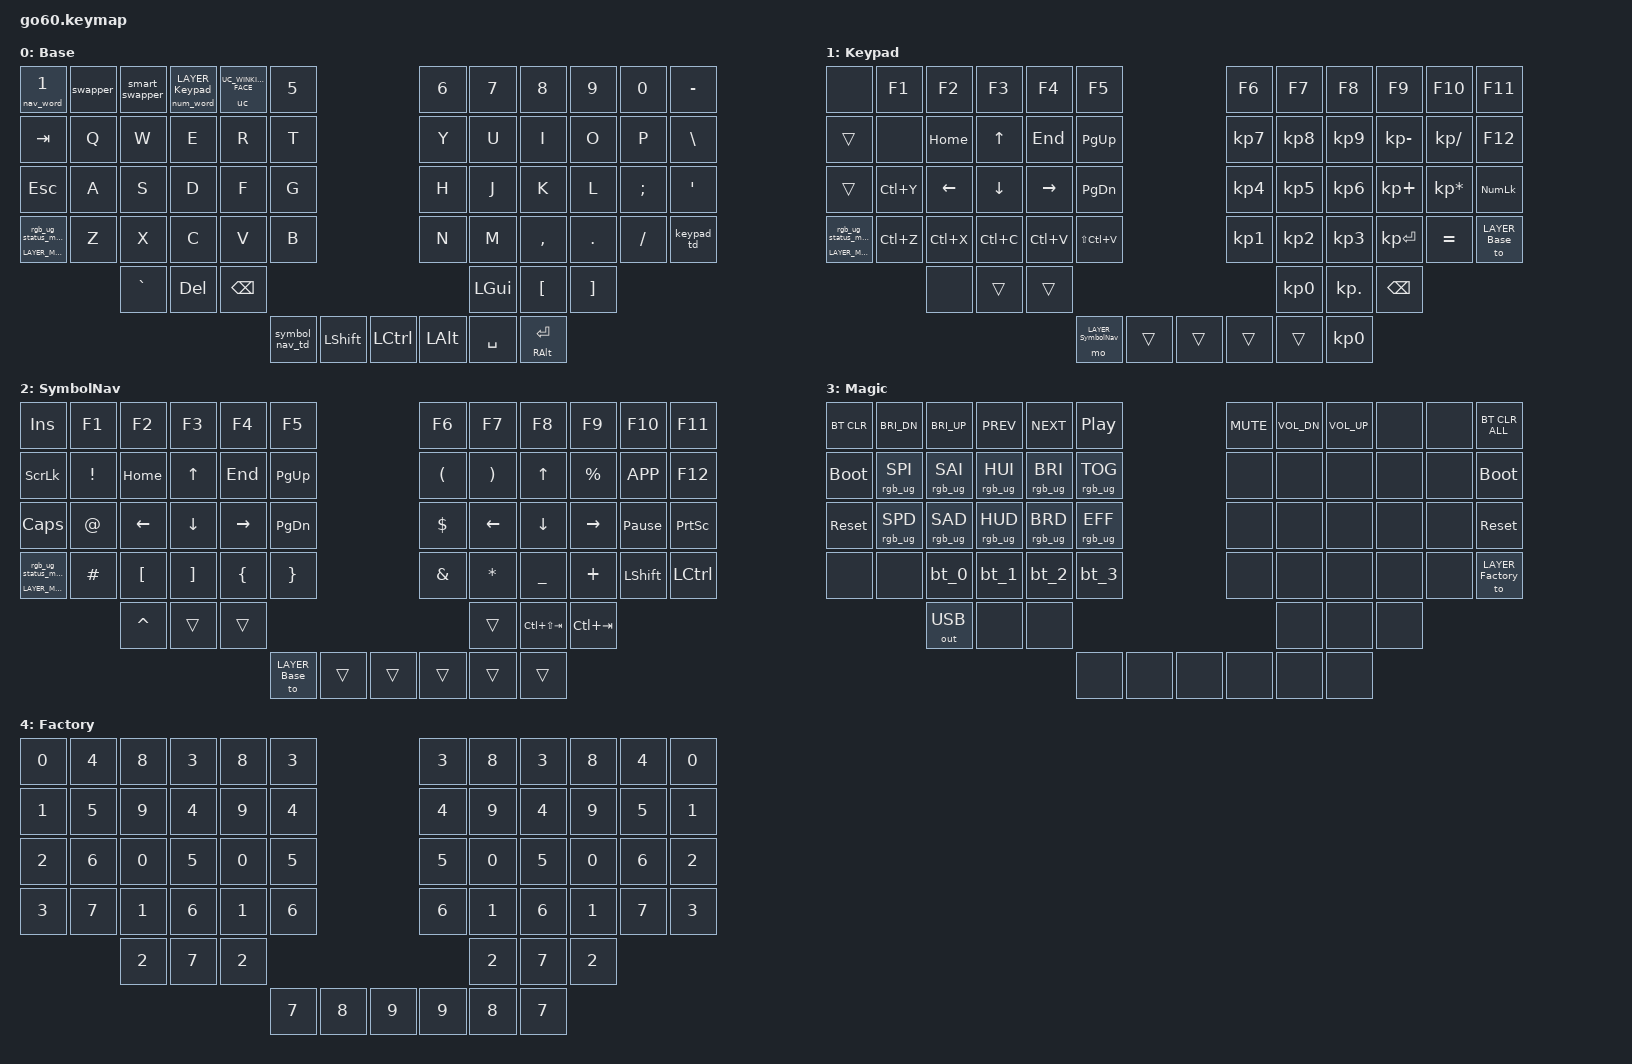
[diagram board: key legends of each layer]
/* Generated by Keyboard Curator. Change the board or the layout there, not this file. */

#include <behaviors.dtsi>
#include <dt-bindings/zmk/keys.h>
#include <dt-bindings/zmk/bt.h>
#include <dt-bindings/zmk/outputs.h>
#include <dt-bindings/zmk/rgb.h>
#include <dt-bindings/zmk/ext_power.h>
#include <dt-bindings/zmk/pointing.h>
#include <input/processors.dtsi>
#include <dt-bindings/zmk/input_transform.h>
#include <zephyr/dt-bindings/input/input-event-codes.h>
#include <behaviors/num_word.dtsi>
#include <behaviors/unicode.dtsi>
#include <zmk-unicode/keys-extra.h>
#include "zmk-helpers/helper.h"

#define LAYER_Base 0
#define LAYER_Keypad 1
#define LAYER_SymbolNav 2
#define LAYER_Magic 3
#define LAYER_Factory 4

/ {
    input_processors {
        zip_click_to_right_click_mapper: zip_click_to_right_click_mapper {
            compatible = "zmk,input-processor-code-mapper";
            #input-processor-cells = <0>;
            type = <INPUT_EV_KEY>;
            map = <INPUT_BTN_0 INPUT_BTN_1>;
        };
    };

    behaviors {
        // Template: Magic
        magic: magic {
            compatible = "zmk,behavior-hold-tap";
            #binding-cells = <2>;
            flavor = "tap-preferred";
            tapping-term-ms = <200>;
            bindings = <&mo>, <&rgb_ug_status_macro>;
        };
        // Key 47 on Base: Keypad while held; tap twice for Switch to Keypad
        keypad_td: keypad_td {
            compatible = "zmk,behavior-tap-dance";
            #binding-cells = <0>;
            tapping-term-ms = <200>;
            bindings = <&mo LAYER_Keypad>, <&to LAYER_Keypad>;
        };
        // Key 54 on Base: SymbolNav while held; tap twice for Switch to SymbolNav
        symbol_nav_td: symbol_nav_td {
            compatible = "zmk,behavior-tap-dance";
            #binding-cells = <0>;
            tapping-term-ms = <200>;
            bindings = <&mo LAYER_SymbolNav>, <&to LAYER_SymbolNav>;
        };
        // Key 38 on Magic: Macro: Select Bluetooth 1; tap twice for BT 0 off
        bt_0: bt_0 {
            compatible = "zmk,behavior-tap-dance";
            #binding-cells = <0>;
            tapping-term-ms = <200>;
            bindings = <&bt_select_0>, <&bt BT_DISC 0>;
        };
        // Key 39 on Magic: Macro: Select Bluetooth 2; tap twice for BT 1 off
        bt_1: bt_1 {
            compatible = "zmk,behavior-tap-dance";
            #binding-cells = <0>;
            tapping-term-ms = <200>;
            bindings = <&bt_select_1>, <&bt BT_DISC 1>;
        };
        // Key 40 on Magic: Macro: Select Bluetooth 3; tap twice for BT 2 off
        bt_2: bt_2 {
            compatible = "zmk,behavior-tap-dance";
            #binding-cells = <0>;
            tapping-term-ms = <200>;
            bindings = <&bt_select_2>, <&bt BT_DISC 2>;
        };
        // Key 41 on Magic: Macro: Select Bluetooth 4; tap twice for BT 3 off
        bt_3: bt_3 {
            compatible = "zmk,behavior-tap-dance";
            #binding-cells = <0>;
            tapping-term-ms = <200>;
            bindings = <&bt_select_3>, <&bt BT_DISC 3>;
        };
        nav_word: nav_word {
            compatible = "zmk,behavior-auto-layer";
            #binding-cells = <1>;
            continue-list = <LEFT DOWN UP RIGHT PG_DN PG_UP>;
            ignore-modifiers;
        };
        swapper: swapper {
            compatible = "zmk,behavior-tri-state";
            #binding-cells = <0>;
            bindings = <&kt LALT>, <&kp TAB>, <&kt LALT>;
        };
        smart_swapper: smart_swapper {
            compatible = "zmk,behavior-smart-toggle";
            #binding-cells = <0>;
            bindings = <&kp LALT>, <&kp TAB>;
        };
    };

    macros {
        // Key 36 on Base: Macro: Show status lights, hold for Magic
        rgb_ug_status_macro: rgb_ug_status_macro {
            compatible = "zmk,behavior-macro";
            #binding-cells = <0>;
            bindings
                = <&macro_tap &rgb_ug RGB_STATUS>
                ;
        };
        // Key 38 on Magic: Macro: Select Bluetooth 1; tap twice for BT 0 off
        bt_select_0: bt_select_0 {
            compatible = "zmk,behavior-macro";
            #binding-cells = <0>;
            bindings
                = <&macro_tap &out OUT_BLE &bt BT_SEL 0>
                ;
        };
        // Key 39 on Magic: Macro: Select Bluetooth 2; tap twice for BT 1 off
        bt_select_1: bt_select_1 {
            compatible = "zmk,behavior-macro";
            #binding-cells = <0>;
            bindings
                = <&macro_tap &out OUT_BLE &bt BT_SEL 1>
                ;
        };
        // Key 40 on Magic: Macro: Select Bluetooth 3; tap twice for BT 2 off
        bt_select_2: bt_select_2 {
            compatible = "zmk,behavior-macro";
            #binding-cells = <0>;
            bindings
                = <&macro_tap &out OUT_BLE &bt BT_SEL 2>
                ;
        };
        // Key 41 on Magic: Macro: Select Bluetooth 4; tap twice for BT 3 off
        bt_select_3: bt_select_3 {
            compatible = "zmk,behavior-macro";
            #binding-cells = <0>;
            bindings
                = <&macro_tap &out OUT_BLE &bt BT_SEL 3>
                ;
        };
    };

    keymap {
        compatible = "zmk,keymap";

        layer_0_Base {
            display-name = "Base";
            bindings = <
                &nav_word 1           &swapper  &smart_swapper  &num_word LAYER_Keypad  &uc UC_WINKING_FACE  &kp N5                                                                   &kp N6  &kp N7    &kp N8     &kp N9    &kp N0    &kp MINUS
                &kp TAB               &kp Q     &kp W           &kp E                   &kp R                &kp T                                                                    &kp Y   &kp U     &kp I      &kp O     &kp P     &kp BSLH
                &kp ESC               &kp A     &kp S           &kp D                   &kp F                &kp G                                                                    &kp H   &kp J     &kp K      &kp L     &kp SEMI  &kp SQT
                &magic LAYER_Magic 0  &kp Z     &kp X           &kp C                   &kp V                &kp B                                                                    &kp N   &kp M     &kp COMMA  &kp DOT   &kp FSLH  &keypad_td
                                                &kp GRAVE       &kp DEL                 &kp BSPC                                                                                              &kp LGUI  &kp LBKT   &kp RBKT
                                                                                                             &symbol_nav_td  &kp LSHFT  &kp LCTRL  &kp LALT  &kp SPACE  &mt RALT RET
            >;
        };

        layer_1_Keypad {
            display-name = "Keypad";
            bindings = <
                &none                 &kp F1     &kp F2     &kp F3     &kp F4     &kp F5                                                          &kp F6     &kp F7     &kp F8      &kp F9        &kp F10          &kp F11
                &trans                &none      &kp HOME   &kp UP     &kp END    &kp PG_UP                                                       &kp KP_N7  &kp KP_N8  &kp KP_N9   &kp KP_MINUS  &kp KP_SLASH     &kp F12
                &trans                &kp LC(Y)  &kp LEFT   &kp DOWN   &kp RIGHT  &kp PG_DN                                                       &kp KP_N4  &kp KP_N5  &kp KP_N6   &kp KP_PLUS   &kp KP_MULTIPLY  &kp KP_NUM
                &magic LAYER_Magic 0  &kp LC(Z)  &kp LC(X)  &kp LC(C)  &kp LC(V)  &kp LS(LC(V))                                                   &kp KP_N1  &kp KP_N2  &kp KP_N3   &kp KP_ENTER  &kp EQUAL        &to LAYER_Base
                                                 &none      &trans     &trans                                                                                &kp KP_N0  &kp KP_DOT  &kp BSPC
                                                                                  &mo LAYER_SymbolNav  &trans  &trans  &trans  &trans  &kp KP_N0
            >;
        };

        layer_2_SymbolNav {
            display-name = "SymbolNav";
            bindings = <
                &kp INS               &kp F1    &kp F2     &kp F3    &kp F4     &kp F5                                                  &kp F6    &kp F7    &kp F8           &kp F9       &kp F10          &kp F11
                &kp SLCK              &kp EXCL  &kp HOME   &kp UP    &kp END    &kp PG_UP                                               &kp LPAR  &kp RPAR  &kp UP           &kp PRCNT    &kp K_APP        &kp F12
                &kp CAPS              &kp AT    &kp LEFT   &kp DOWN  &kp RIGHT  &kp PG_DN                                               &kp DLLR  &kp LEFT  &kp DOWN         &kp RIGHT    &kp PAUSE_BREAK  &kp PSCRN
                &magic LAYER_Magic 0  &kp HASH  &kp LBKT   &kp RBKT  &kp LBRC   &kp RBRC                                                &kp AMPS  &kp STAR  &kp UNDER        &kp PLUS     &kp LSHFT        &kp LCTRL
                                                &kp CARET  &trans    &trans                                                                       &trans    &kp LC(LS(TAB))  &kp LC(TAB)
                                                                                &to LAYER_Base  &trans  &trans  &trans  &trans  &trans
            >;
        };

        layer_3_Magic {
            display-name = "Magic";
            bindings = <
                &bt BT_CLR   &kp C_BRI_DN     &kp C_BRI_UP     &kp C_PREV       &kp C_NEXT       &kp C_PP                                            &kp C_MUTE  &kp C_VOL_DN  &kp C_VOL_UP  &none  &none  &bt BT_CLR_ALL
                &bootloader  &rgb_ug RGB_SPI  &rgb_ug RGB_SAI  &rgb_ug RGB_HUI  &rgb_ug RGB_BRI  &rgb_ug RGB_TOG                                     &none       &none         &none         &none  &none  &bootloader
                &sys_reset   &rgb_ug RGB_SPD  &rgb_ug RGB_SAD  &rgb_ug RGB_HUD  &rgb_ug RGB_BRD  &rgb_ug RGB_EFF                                     &none       &none         &none         &none  &none  &sys_reset
                &none        &none            &bt_0            &bt_1            &bt_2            &bt_3                                               &none       &none         &none         &none  &none  &to LAYER_Factory
                                              &out OUT_USB     &none            &none                                                                            &none         &none         &none
                                                                                                 &none            &none  &none  &none  &none  &none
            >;
        };

        layer_4_Factory {
            display-name = "Factory";
            bindings = <
                &kp N0  &kp N4  &kp N8  &kp N3  &kp N8  &kp N3                                          &kp N3  &kp N8  &kp N3  &kp N8  &kp N4  &kp N0
                &kp N1  &kp N5  &kp N9  &kp N4  &kp N9  &kp N4                                          &kp N4  &kp N9  &kp N4  &kp N9  &kp N5  &kp N1
                &kp N2  &kp N6  &kp N0  &kp N5  &kp N0  &kp N5                                          &kp N5  &kp N0  &kp N5  &kp N0  &kp N6  &kp N2
                &kp N3  &kp N7  &kp N1  &kp N6  &kp N1  &kp N6                                          &kp N6  &kp N1  &kp N6  &kp N1  &kp N7  &kp N3
                                &kp N2  &kp N7  &kp N2                                                          &kp N2  &kp N7  &kp N2
                                                        &kp N7  &kp N8  &kp N9  &kp N9  &kp N8  &kp N7
            >;
        };
    };
};

&cirque_rh_listener {
    input-processors = <&zip_xy_scaler 3 1>;
    override_0 {
        layers = <LAYER_SymbolNav>;
        input-processors = <&zip_xy_scaler 9 1>;
    };
};

&cirque_lh_listener {
    input-processors = <&zip_xy_to_scroll_mapper>, <&zip_xy_scaler 1 8>, <&zip_click_to_right_click_mapper>;
    override_0 {
        layers = <LAYER_Factory>;
        input-processors = <&zip_xy_scaler 3 1>;
    };
};
